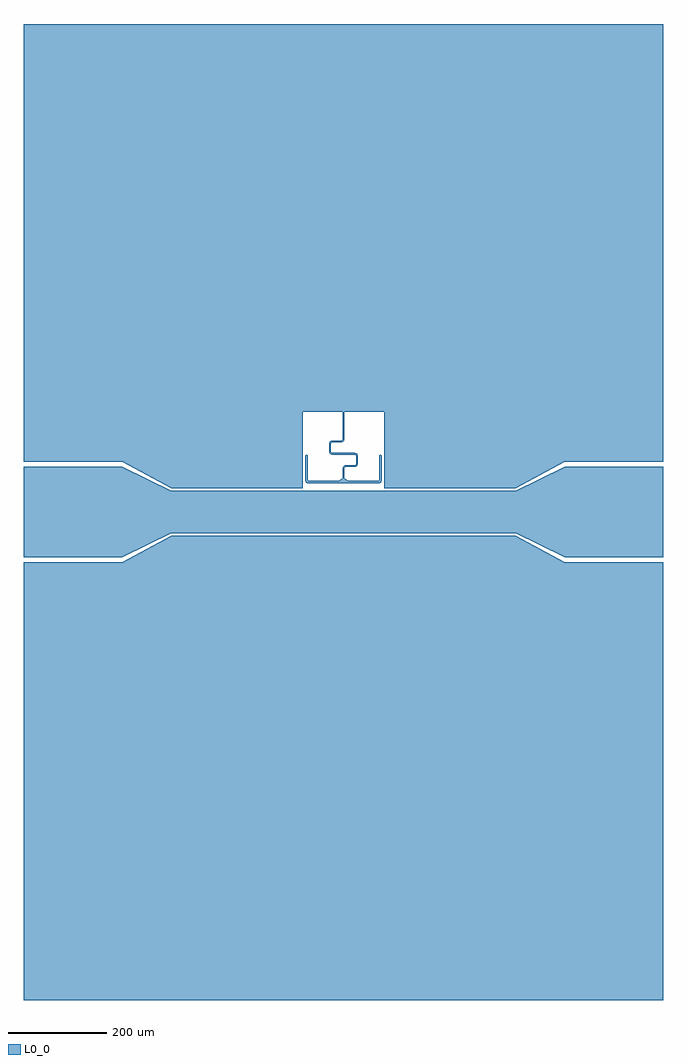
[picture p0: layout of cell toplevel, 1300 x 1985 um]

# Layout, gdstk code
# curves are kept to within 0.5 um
import gdstk
lib = gdstk.Library(unit=1e-6, precision=1e-09)
def P(c, l, *ps):  # polygons
    for p in ps: c.add(gdstk.Polygon(p, *l))
L0_0 = (0, 0)

toplevel = lib.new_cell('toplevel')
P(toplevel, L0_0, [(82.5,203.5),(82.5,48.5),(350,48.5),(450,102.575),(650,102.575),(650,992.5),(-650,992.5),(-650,102.575),(-450,102.575),(-350,48.5),(-82.5,48.5),(-82.5,203.5)],
  [(650,-992.5),(650,-102.575),(450,-102.575),(350,-48.5),(-350,-48.5),(-450,-102.575),(-650,-102.575),(-650,-992.5)],
  [(-75.109,115.998),(-76.768,115.268),(-77.498,113.609),(-77.495,64.962),(-76.516,61.139),(-73.652,58.912),(71.038,58.505),(74.93,59.527),(77.088,62.348),(77.498,113.609),(75.855,115.849),(73.566,115.548),(72.502,113.609),(72.054,63.65),(-70.62,63.5),(-72.235,63.74),(-72.492,64.93),(-72.51,113.718),(-73.393,115.415)],
  [(1.75,68.5),(1.765,88.114),(2.615,90.885),(5.277,91.731),(23.642,91.894),(27.488,93.772),(29.026,96.909),(29.228,113.354),(28.451,116.813),(27.519,118.195),(24.662,119.887),(22.702,120.209),(-23.085,120.349),(-25.227,121.571),(-25.75,125.045),(-25.719,138.435),(-24.705,141.044),(-22.169,141.733),(-3.56,141.945),(-0.511,143.302),(1.254,145.916),(1.748,149.446),(1.75,203.5),(-1.75,203.5),(-2.051,147.068),(-2.876,145.896),(-4.511,145.336),(-22.737,145.206),(-25.084,144.754),(-26.955,143.726),(-28.413,141.889),(-29.147,139.348),(-29.25,125.045),(-29.01,121.834),(-28.044,119.475),(-26.303,117.816),(-23.865,116.931),(22.032,116.738),(24.193,116.345),(25.305,115.28),(25.742,112.921),(25.742,99.079),(24.806,96.039),(22.196,95.268),(3.895,95.112),(1.122,94.139),(-0.751,92.191),(-1.731,88.286),(-1.75,68.5)],
  [(10,63.5),(1.75,68.5),(-1.75,68.5),(-10,63.5)],
  [(-350,43.5),(-450,92),(-650,92),(-650,-92),(-450,-92),(-350,-43.5),(350,-43.5),(450,-92),(650,-92),(650,92),(450,92),(350,43.5)])

lib.write_gds('toplevel.gds')
